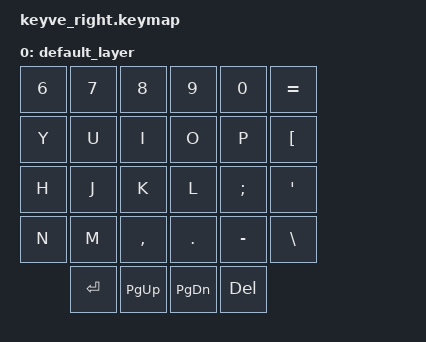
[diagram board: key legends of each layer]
#include <behaviors.dtsi>
#include <dt-bindings/zmk/keys.h>

/ {
    keymap {
        compatible = "zmk,keymap";

        default_layer {
            bindings = <
						  &kp N6     &kp N7     &kp N8     &kp N9     &kp N0    &kp EQUAL
        			&kp Y      &kp U      &kp I      &kp O      &kp P     &kp LBKT
        			&kp H      &kp J      &kp K      &kp L      &kp SEMI  &kp SQT
        			&kp N      &kp M      &kp COMMA  &kp DOT    &kp MINUS &kp BSLH
        			&kp RET                          &kp PG_UP  &kp PG_DN &kp DEL
            >;
        };
    };
};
